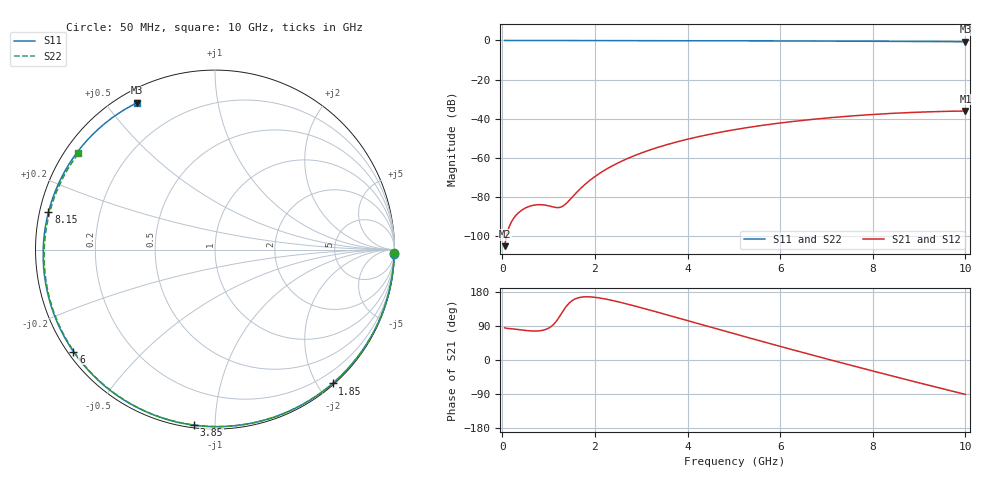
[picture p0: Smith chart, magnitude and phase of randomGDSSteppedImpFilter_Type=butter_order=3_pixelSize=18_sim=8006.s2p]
! freq	dB(S11)	phase(S11)	dB(S12)	phase(S12)
!  dB(S21)	phase(S21)	dB(S22)	phase(S22)
!S-par simulation data
#  GHz  S  DB  R 50
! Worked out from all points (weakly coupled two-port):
!   200 points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, 50 MHz to 10 GHz, reference 50 ohm
!   highest |S21| = -36.12 dB at 10 GHz (marker M1); lowest = -105.3 dB at 50 MHz (marker M2)
!   lowest |S11| = -0.7 dB at 10 GHz (marker M3), VSWR 26.10, Z = 2.61 + j30 ohm
!   |S11| at or under -10 dB: nowhere
!   |S22| runs from -0.6 to 0.0 dB; largest |S21 - S12| = 0
!   S11 on the Smith chart (normalised r, x): 50 MHz: 3, -88; 1.85 GHz: 0.02, -2.21; 3.85 GHz: 0.01, -0.89; 6 GHz: 0.02, -0.32; 8.15 GHz: 0.03, +0.11; 10 GHz: 0.05, +0.60
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0.05  -0.01 -1.3  -105.26 84.8  -105.26 84.8  -0.00 -1.2
0.75  -0.03 -20.1  -84.09 76.5  -84.09 76.5  -0.02 -18.7
1.5  -0.05 -39.7  -80.46 155.9  -80.46 155.9  -0.05 -37.0
1.55  -0.05 -41.0  -79.17 159.7  -79.17 159.7  -0.05 -38.2
1.75  -0.06 -46.1  -74.42 166.4  -74.42 166.4  -0.05 -43.0
1.85  -0.06 -48.7  -72.37 166.8  -72.37 166.8  -0.06 -45.4
2.15  -0.07 -56.2  -67.26 162.7  -67.26 162.7  -0.07 -52.4
2.5  -0.08 -64.9  -62.66 153.6  -62.66 153.6  -0.08 -60.5
2.9  -0.10 -74.6  -58.51 141.2  -58.51 141.2  -0.09 -69.5
3.4  -0.11 -86.4  -54.41 124.5  -54.41 124.5  -0.10 -80.6
3.85  -0.13 -96.8  -51.42 109.1  -51.42 109.1  -0.12 -90.2
4.45  -0.16 -110.3  -48.16 88.5  -48.16 88.5  -0.14 -102.7
5.05  -0.19 -123.6  -45.51 67.9  -45.51 67.9  -0.17 -114.9
6  -0.25 -144.2  -42.24 36.0  -42.24 36.0  -0.23 -133.6
6.7  -0.30 -159.5  -40.38 12.8  -40.38 12.8  -0.28 -147.2
7.45  -0.36 -176.3  -38.80 -11.5  -38.80 -11.5  -0.34 -161.7
8.15  -0.43 167.3  -37.67 -33.7  -37.67 -33.7  -0.41 -175.6
8.35  -0.46 162.4  -37.40 -40.0  -37.40 -40.0  -0.43 -179.6
8.75  -0.50 152.4  -36.94 -52.5  -36.94 -52.5  -0.47 172.2
9.15  -0.55 141.9  -36.57 -64.9  -36.57 -64.9  -0.52 163.7
9.55  -0.60 131.0  -36.30 -77.1  -36.30 -77.1  -0.56 155.0
10  -0.67 118.0  -36.12 -90.7  -36.12 -90.7  -0.62 144.9
